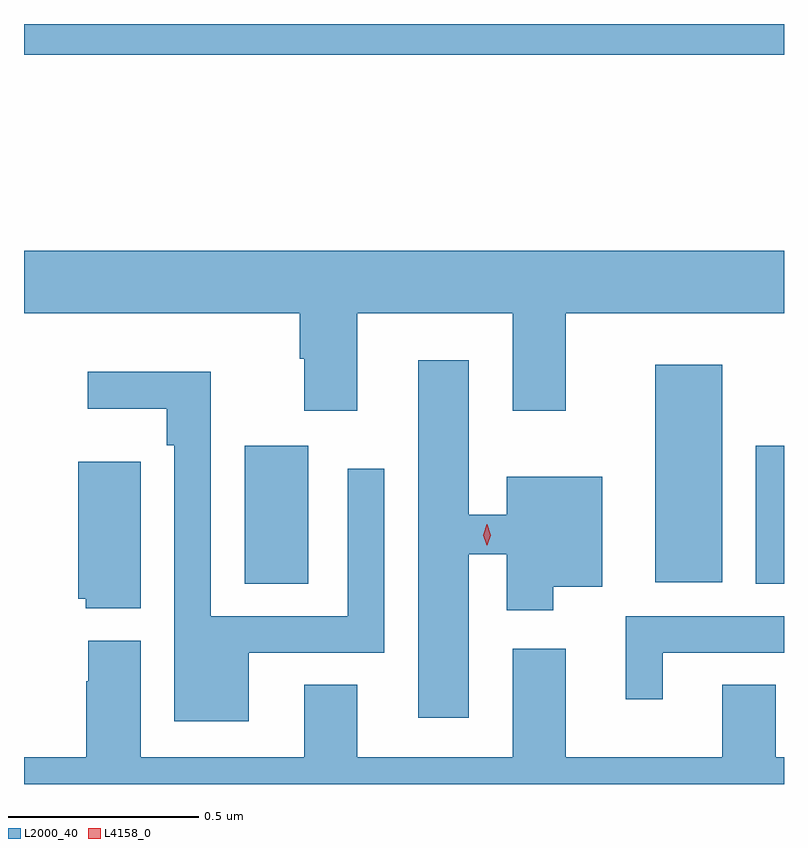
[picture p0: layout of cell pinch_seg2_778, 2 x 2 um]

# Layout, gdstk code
import gdstk
lib = gdstk.Library(unit=1e-6, precision=1e-09)
def R(c, l, rs):  # rectangles x0, y0, x1, y1
    for r in rs: c.add(gdstk.rectangle(r[:2], r[2:], *l))
def P(c, l, *ps):  # polygons
    for p in ps: c.add(gdstk.Polygon(p, *l))
L2000_40 = (2000, 40)
L4158_0 = (4158, 0)

pinch_seg2_778 = lib.new_cell('pinch_seg2_778')
R(pinch_seg2_778, L2000_40, [(747.866,642.928,748.033,643.291), (749.21,642.928,749.285,643.291), (748.946,642.932,749.122,643.504), (747.285,644.32,749.285,644.401)])
P(pinch_seg2_778, L2000_40, [(748.162,643.64),(748.571,643.64),(748.571,643.383),(748.711,643.383),(748.711,643.64),(749.285,643.64),(749.285,643.804),(747.285,643.804),(747.285,643.64),(748.01,643.64),(748.01,643.52),(748.022,643.52),(748.022,643.383),(748.162,643.383)],
  [(748.456,643.006),(748.556,643.006),(748.556,642.858),(748.678,642.858),(748.678,642.92),(748.807,642.92),(748.807,643.21),(748.556,643.21),(748.556,643.109),(748.456,643.109),(748.456,643.516),(748.322,643.516),(748.322,642.576),(748.456,642.576)],
  [(747.877,642.747),(748.233,642.747),(748.233,643.231),(748.137,643.231),(748.137,642.843),(747.777,642.843),(747.777,643.486),(747.453,643.486),(747.453,643.388),(747.661,643.388),(747.661,643.292),(747.681,643.292),(747.681,642.566),(747.877,642.566)],
  [(747.592,643.249),(747.428,643.249),(747.428,642.888),(747.447,642.888),(747.447,642.863),(747.592,642.863)],
  [(748.966,642.747),(749.285,642.747),(749.285,642.843),(748.868,642.843),(748.868,642.624),(748.966,642.624)],
  [(748.022,642.662),(748.022,642.472),(747.592,642.472),(747.592,642.778),(747.454,642.778),(747.454,642.671),(747.449,642.671),(747.449,642.472),(747.285,642.472),(747.285,642.401),(749.285,642.401),(749.285,642.472),(749.263,642.472),(749.263,642.662),(749.123,642.662),(749.123,642.472),(748.711,642.472),(748.711,642.757),(748.571,642.757),(748.571,642.472),(748.162,642.472),(748.162,642.662)])
P(pinch_seg2_778, L4158_0, [(748.503,643.029),(748.494,643.056),(748.503,643.084),(748.504,643.084),(748.504,643.084),(748.513,643.056),(748.504,643.029),(748.504,643.029)])

lib.write_gds('pinch_seg2_778.gds')
